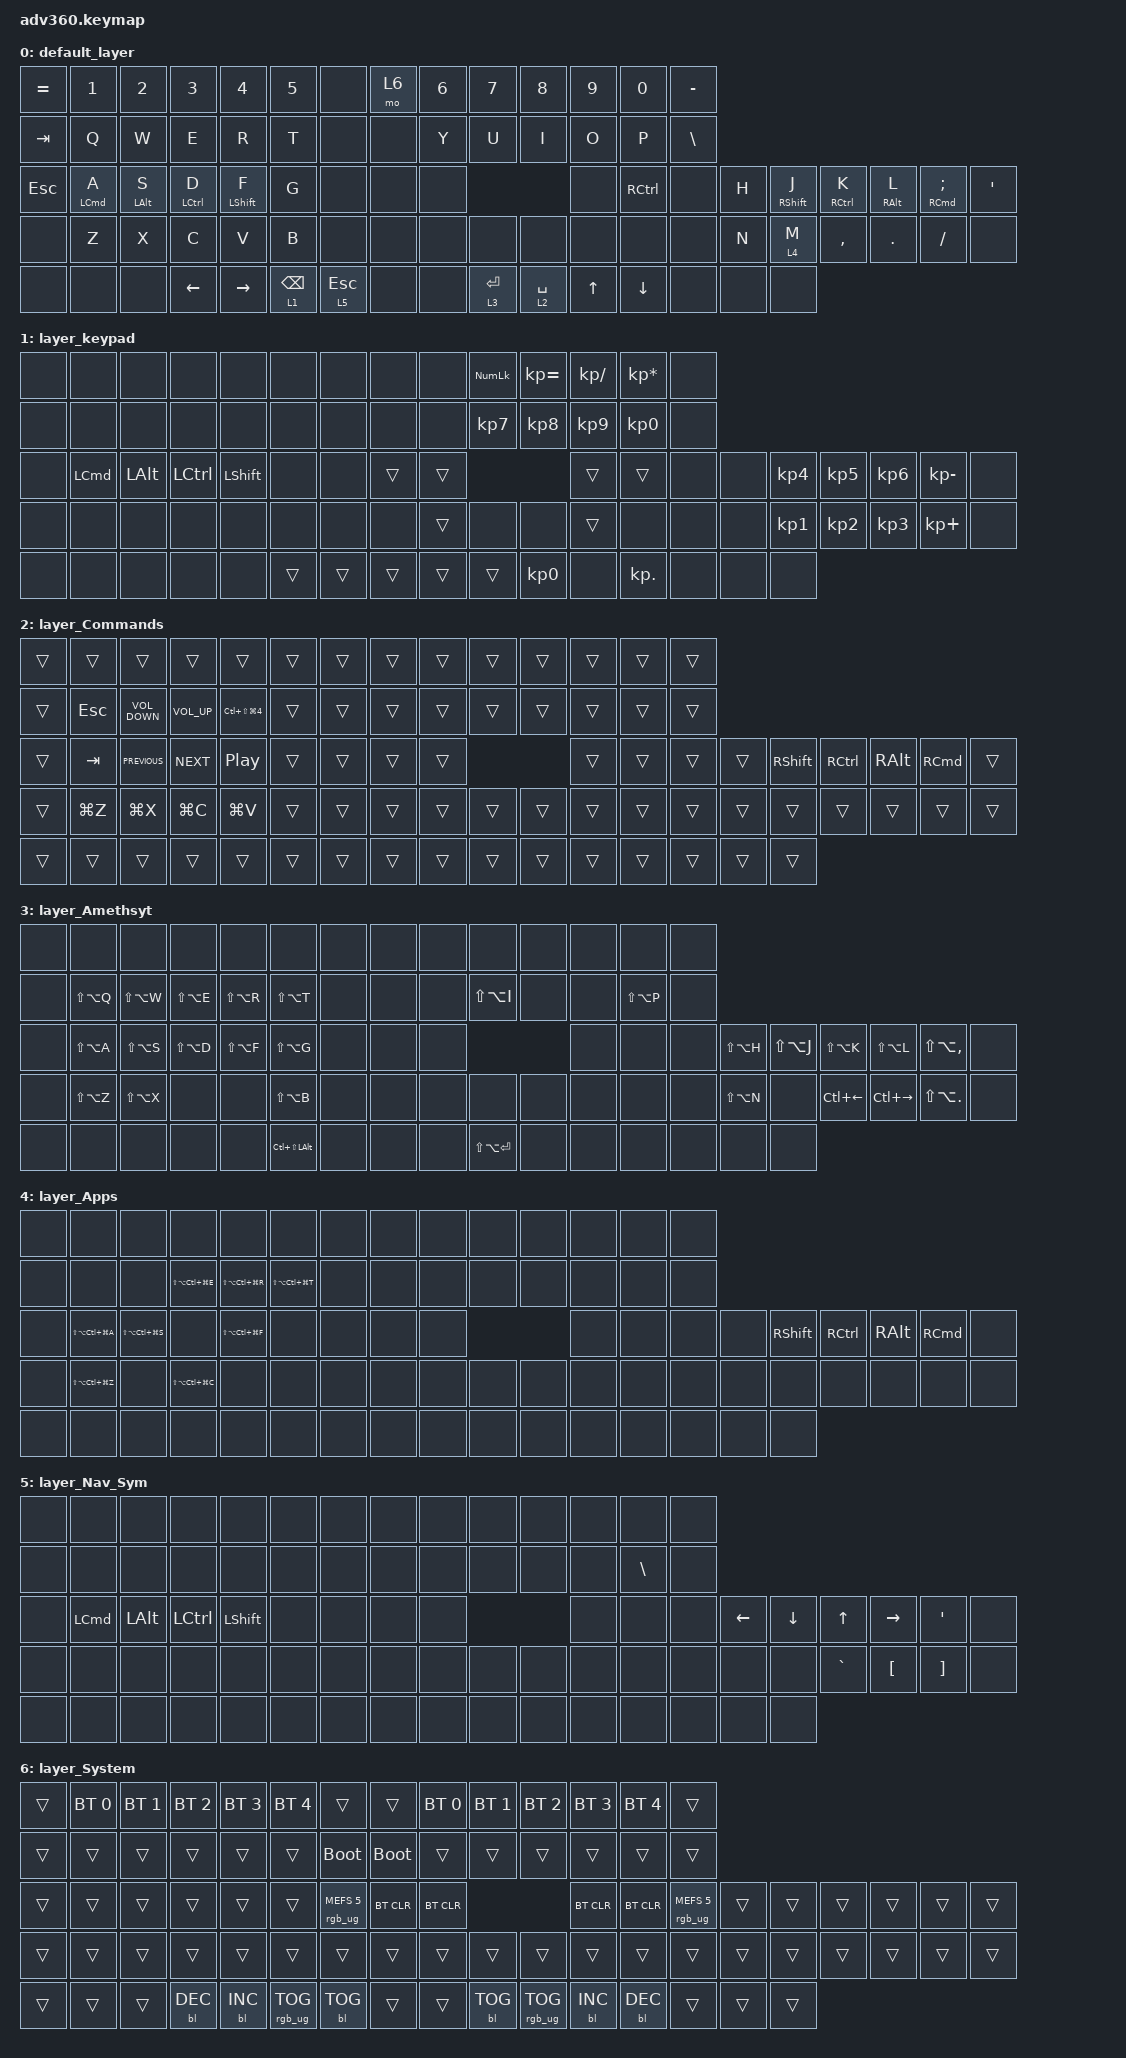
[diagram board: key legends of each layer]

/*
 * Copyright (c) 2020 The ZMK Contributors
 *
 * SPDX-License-Identifier: MIT
 */


/* THIS FILE WAS GENERATED!
 *
 * This file was generated automatically. You may or may not want to
 * edit it directly.
 */

#include <behaviors.dtsi>
#include <dt-bindings/zmk/keys.h>
#include <dt-bindings/zmk/bt.h>
#include <dt-bindings/zmk/rgb.h>
#include <dt-bindings/zmk/backlight.h>

/ {
  behaviors {
    #include "macros.dtsi"

    hm: homerow_mods {
        compatible = "zmk,behavior-hold-tap";
        label = "HOMEROW_MODS";
        #binding-cells = <2>;
        tapping-term-ms = <200>;
        quick_tap_ms = <175>;
        global-quick-tap;
        flavor = "tap-preferred";
        bindings = <&kp>, <&kp>;
    };
  };

    keymap {
        compatible = "zmk,keymap";


        default_layer {
            bindings = <
 &kp EQUAL      &kp N1          &kp N2              &kp N3            &kp N4           &kp N5                   &none   &mo 6  &kp N6       &kp N7       &kp N8  &kp N9     &kp N0  &kp MINUS
   &kp TAB       &kp Q           &kp W               &kp E             &kp R            &kp T                   &none   &none   &kp Y        &kp U        &kp I   &kp O      &kp P   &kp BSLH
   &kp ESC  &mt LCMD A  &mt LEFT_ALT S  &mt LEFT_CONTROL D  &mt LEFT_SHIFT F            &kp G                   &none   &none   &none                             &none  &kp RCTRL      &none   &kp H  &mt RIGHT_SHIFT J  &mt RIGHT_CONTROL K  &mt RIGHT_ALT L  &mt RIGHT_COMMAND SEMICOLON  &kp SQT
     &none       &kp Z           &kp X               &kp C             &kp V            &kp B                   &none   &none   &none        &none        &none   &none      &none      &none   &kp N            &lt 4 M            &kp COMMA          &kp DOT                     &kp FSLH    &none
     &none       &none           &none            &kp LEFT         &kp RIGHT  &lt 1 BACKSPACE            &lt 5 ESCAPE   &none   &none  &lt 3 ENTER  &lt 2 SPACE  &kp UP   &kp DOWN      &none   &none              &none
            >;
        };

        layer_keypad {
            bindings = <
  &none             &none         &none             &none           &none   &none             &none   &none   &none  &kp KP_NUM  &kp KP_EQUAL  &kp KP_DIVIDE  &kp KP_MULTIPLY   &none
  &none             &none         &none             &none           &none   &none             &none   &none   &none   &kp KP_N7     &kp KP_N8      &kp KP_N9        &kp KP_N0   &none
  &none  &kp LEFT_COMMAND  &kp LEFT_ALT  &kp LEFT_CONTROL  &kp LEFT_SHIFT   &none             &none  &trans  &trans                                   &trans           &trans   &none   &none  &kp KP_N4  &kp KP_N5  &kp KP_N6  &kp KP_MINUS   &none
  &none             &none         &none             &none           &none   &none             &none   &none  &trans       &none         &none         &trans            &none   &none   &none  &kp KP_N1  &kp KP_N2  &kp KP_N3   &kp KP_PLUS   &none
  &none             &none         &none             &none           &none  &trans            &trans  &trans  &trans      &trans     &kp KP_N0          &none       &kp KP_DOT   &none   &none      &none
            >;
        };

        layer_Commands {
            bindings = <
 &trans      &trans             &trans           &trans                    &trans  &trans            &trans  &trans  &trans  &trans  &trans  &trans  &trans  &trans
 &trans  &kp ESCAPE  &kp C_VOLUME_DOWN  &kp C_VOLUME_UP  &kp LC(LS(LG(NUMBER_4)))  &trans            &trans  &trans  &trans  &trans  &trans  &trans  &trans  &trans
 &trans     &kp TAB     &kp C_PREVIOUS       &kp C_NEXT          &kp C_PLAY_PAUSE  &trans            &trans  &trans  &trans                  &trans  &trans  &trans  &trans  &kp RIGHT_SHIFT  &kp RIGHT_CONTROL  &kp RIGHT_ALT  &kp RIGHT_COMMAND  &trans
 &trans   &kp LG(Z)          &kp LG(X)        &kp LG(C)                 &kp LG(V)  &trans            &trans  &trans  &trans  &trans  &trans  &trans  &trans  &trans  &trans           &trans             &trans         &trans             &trans  &trans
 &trans      &trans             &trans           &trans                    &trans  &trans            &trans  &trans  &trans  &trans  &trans  &trans  &trans  &trans  &trans           &trans
            >;
        };

        layer_Amethsyt {
            bindings = <
  &none          &none          &none          &none          &none                 &none            &none   &none   &none              &none   &none   &none          &none   &none
  &none  &kp LS(LA(Q))  &kp LS(LA(W))  &kp LS(LA(E))  &kp LS(LA(R))         &kp LS(LA(T))            &none   &none   &none      &kp LS(LA(I))   &none   &none  &kp LS(LA(P))   &none
  &none  &kp LS(LA(A))  &kp LS(LA(S))  &kp LS(LA(D))  &kp LS(LA(F))         &kp LS(LA(G))            &none   &none   &none                              &none          &none   &none  &kp LS(LA(H))  &kp LS(LA(J))       &kp LS(LA(K))        &kp LS(LA(L))  &kp LS(LA(COMMA))   &none
  &none  &kp LS(LA(Z))  &kp LS(LA(X))          &none          &none         &kp LS(LA(B))            &none   &none   &none              &none   &none   &none          &none   &none  &kp LS(LA(N))          &none  &kp LC(LEFT_ARROW)  &kp LC(RIGHT_ARROW)    &kp LS(LA(DOT))   &none
  &none          &none          &none          &none          &none  &kp LC(LS(LEFT_ALT))            &none   &none   &none  &kp LS(LA(ENTER))   &none   &none          &none   &none          &none          &none
            >;
        };

        layer_Apps {
            bindings = <
  &none                  &none                  &none                  &none                  &none                  &none            &none   &none   &none   &none   &none   &none   &none   &none
  &none                  &none                  &none  &kp LS(LA(LC(LG(E))))  &kp LS(LA(LC(LG(R))))  &kp LS(LA(LC(LG(T))))            &none   &none   &none   &none   &none   &none   &none   &none
  &none  &kp LS(LA(LC(LG(A))))  &kp LS(LA(LC(LG(S))))                  &none  &kp LS(LA(LC(LG(F))))                  &none            &none   &none   &none                   &none   &none   &none   &none  &kp RIGHT_SHIFT  &kp RIGHT_CONTROL  &kp RIGHT_ALT  &kp RIGHT_COMMAND   &none
  &none  &kp LS(LA(LC(LG(Z))))                  &none  &kp LS(LA(LC(LG(C))))                  &none                  &none            &none   &none   &none   &none   &none   &none   &none   &none   &none            &none              &none          &none              &none   &none
  &none                  &none                  &none                  &none                  &none                  &none            &none   &none   &none   &none   &none   &none   &none   &none   &none            &none
            >;
        };

        layer_Nav_Sym {
            bindings = <
  &none             &none         &none             &none           &none   &none            &none   &none   &none   &none   &none   &none          &none   &none
  &none             &none         &none             &none           &none   &none            &none   &none   &none   &none   &none   &none  &kp BACKSLASH   &none
  &none  &kp LEFT_COMMAND  &kp LEFT_ALT  &kp LEFT_CONTROL  &kp LEFT_SHIFT   &none            &none   &none   &none                   &none          &none   &none  &kp LEFT  &kp DOWN     &kp UP         &kp RIGHT   &kp SINGLE_QUOTE   &none
  &none             &none         &none             &none           &none   &none            &none   &none   &none   &none   &none   &none          &none   &none     &none     &none  &kp GRAVE  &kp LEFT_BRACKET  &kp RIGHT_BRACKET   &none
  &none             &none         &none             &none           &none   &none            &none   &none   &none   &none   &none   &none          &none   &none     &none     &none
            >;
        };

        layer_System {
            bindings = <
 &trans  &bt BT_SEL 0  &bt BT_SEL 1  &bt BT_SEL 2  &bt BT_SEL 3     &bt BT_SEL 4                            &trans       &trans  &bt BT_SEL 0  &bt BT_SEL 1     &bt BT_SEL 2  &bt BT_SEL 3  &bt BT_SEL 4                  &trans
 &trans        &trans        &trans        &trans        &trans           &trans                       &bootloader  &bootloader        &trans        &trans           &trans        &trans        &trans                  &trans
 &trans        &trans        &trans        &trans        &trans           &trans            &rgb_ug RGB_MEFS_CMD 5   &bt BT_CLR    &bt BT_CLR                                   &bt BT_CLR    &bt BT_CLR  &rgb_ug RGB_MEFS_CMD 5  &trans  &trans  &trans  &trans  &trans  &trans
 &trans        &trans        &trans        &trans        &trans           &trans                            &trans       &trans        &trans        &trans           &trans        &trans        &trans                  &trans  &trans  &trans  &trans  &trans  &trans  &trans
 &trans        &trans        &trans    &bl BL_DEC    &bl BL_INC  &rgb_ug RGB_TOG                        &bl BL_TOG       &trans        &trans    &bl BL_TOG  &rgb_ug RGB_TOG    &bl BL_INC    &bl BL_DEC                  &trans  &trans  &trans
            >;
        };

    };
};
